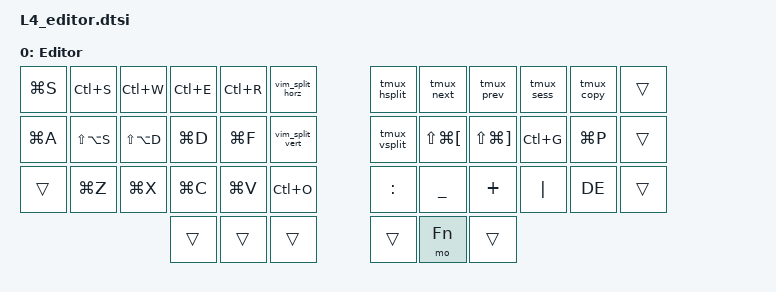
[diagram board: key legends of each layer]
/**
 * Code Editor Layer
 * Specialized for nvim, tmux, and programming
 */

 / {
   keymap {
     compatible = "zmk,keymap";

     editor_layer {
       display-name = "Editor";
       bindings = <
// ╭───────────────┬───────────────┬───────────────┬───────────────┬───────────────┬───────────────╮   ╭───────────────┬───────────────┬───────────────┬───────────────┬───────────────┬───────────────╮
// │0              │1              │2              │3              │4              │5              │   │6              │7              │8              │9              │10             │11             │
        &kp LG(S)   &kp LC(S)       &kp LC(W)       &kp LC(E)       &kp LC(R)       &vim_split_horz     &tmux_hsplit    &tmux_next      &tmux_prev      &tmux_sess      &tmux_copy      &trans
// ├───────────────├───────────────┼───────────────┼───────────────┼───────────────┼───────────────┤   ├───────────────├───────────────┼───────────────┼───────────────┼───────────────┼───────────────┤
// │12             │13             │14             │15             │16             │17             │   │18             │19             │20             │21             │22             │23             │
        &kp LG(A)   &kp LS(LA(S))   &kp LS(LA(D))   &kp LG(D)       &kp LG(F)       &vim_split_vert     &tmux_vsplit   &kp LS(LG(LBKT)) &kp LS(LG(RBKT)) &kp LC(G)      &kp LG(P)       &trans
// ├───────────────├───────────────┼───────────────┼───────────────┼───────────────┼───────────────┤   ├───────────────├───────────────┼───────────────┼───────────────┼───────────────┼───────────────┤
// │24             │25             │26             │27             │28             │29             │   │30             │31             │32             │33             │34             │35             │
        &trans      &kp LG(Z)       &kp LG(X)       &kp LG(C)       &kp LG(V)       &kp LC(O)           &kp COLON       &kp UNDER       &kp PLUS        &kp PIPE        &kp DE          &trans
// ╰───────────────┴───────────────┴───────────────┼───────────────┼───────────────┼───────────────┤   ├───────────────├───────────────┼───────────────┼───────────────┴───────────────┴───────────────╯
//                                                 │36             │37             │38             │   │39             │40             │41             │
                                                    &trans          &trans          &trans              &trans          &mo Fn          &trans
//                                                 ╰───────────────┴───────────────┴───────────────╯   ╰───────────────┴───────────────┴───────────────╯
       >;
     };
   };
 };
